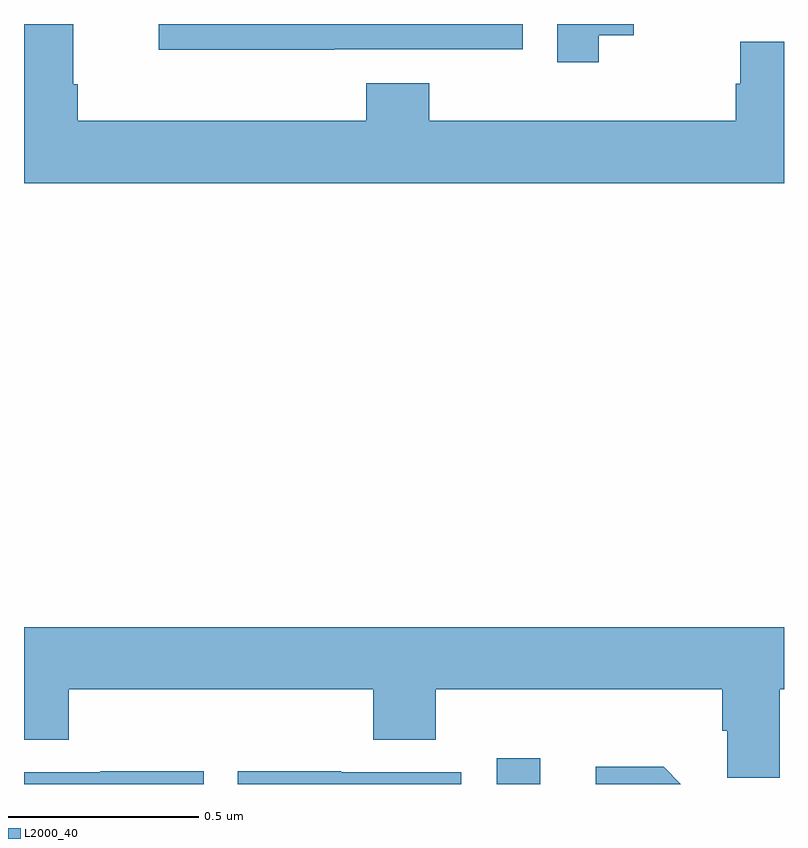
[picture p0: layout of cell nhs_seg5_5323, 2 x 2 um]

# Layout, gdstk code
import gdstk
lib = gdstk.Library(unit=1e-6, precision=1e-09)
def R(c, l, rs):  # rectangles x0, y0, x1, y1
    for r in rs: c.add(gdstk.rectangle(r[:2], r[2:], *l))
def P(c, l, *ps):  # polygons
    for p in ps: c.add(gdstk.Polygon(p, *l))
L2000_40 = (2000, 40)

nhs_seg5_5323 = lib.new_cell('nhs_seg5_5323')
R(nhs_seg5_5323, L2000_40, [(182.244,901.799,182.359,901.867)])
P(nhs_seg5_5323, L2000_40, [(183,903.752),(182.885,903.752),(182.885,903.642),(182.873,903.642),(182.873,903.544),(182.066,903.544),(182.066,903.643),(181.901,903.643),(181.901,903.544),(181.142,903.544),(181.142,903.64),(181.129,903.64),(181.129,903.799),(181,903.799),(181,903.38),(183,903.38)],
  [(182.512,903.769),(182.604,903.769),(182.604,903.799),(182.403,903.799),(182.403,903.699),(182.512,903.699)],
  [(181.817,903.732),(182.313,903.732),(182.313,903.799),(181.354,903.799),(181.354,903.731),(181.817,903.731)],
  [(182.989,902.048),(183,902.048),(183,902.212),(181,902.212),(181,901.915),(181.118,901.915),(181.118,902.048),(181.919,902.048),(181.919,901.915),(182.084,901.915),(182.084,902.048),(182.837,902.048),(182.837,901.939),(182.85,901.939),(182.85,901.816),(182.989,901.816)],
  [(182.683,901.844),(182.505,901.844),(182.505,901.799),(182.728,901.799)],
  [(181.473,901.832),(181.201,901.832),(181.201,901.83),(181,901.83),(181,901.799),(181.473,901.799)],
  [(182.151,901.83),(181.835,901.83),(181.835,901.832),(181.563,901.832),(181.563,901.799),(182.151,901.799)])

lib.write_gds('nhs_seg5_5323.gds')
